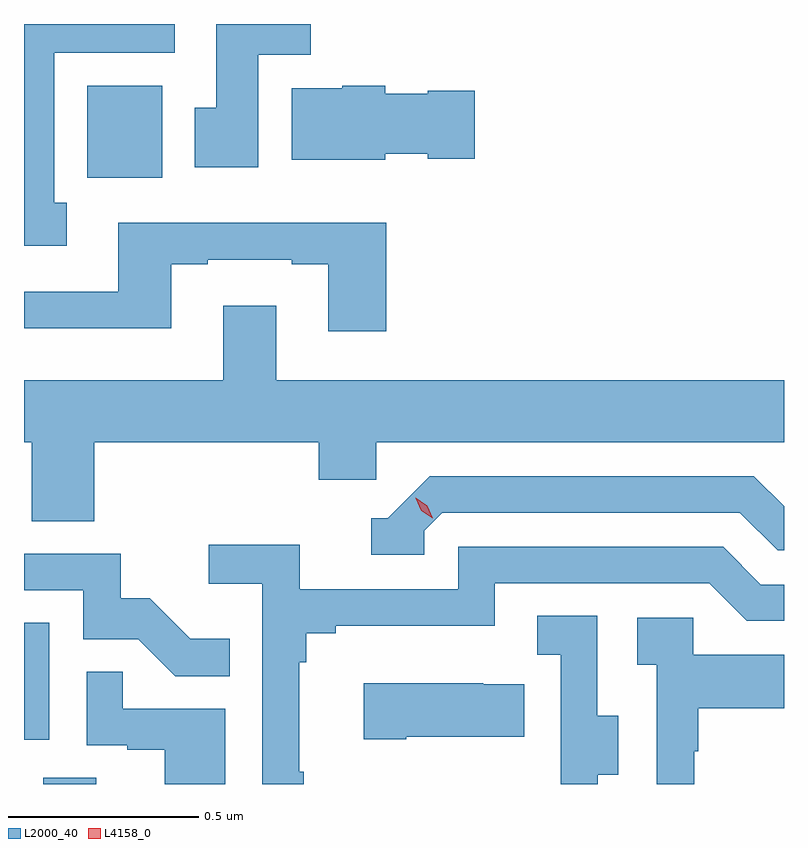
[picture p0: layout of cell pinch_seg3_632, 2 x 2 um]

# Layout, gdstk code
import gdstk
lib = gdstk.Library(unit=1e-6, precision=1e-09)
def R(c, l, rs):  # rectangles x0, y0, x1, y1
    for r in rs: c.add(gdstk.rectangle(r[:2], r[2:], *l))
def P(c, l, *ps):  # polygons
    for p in ps: c.add(gdstk.Polygon(p, *l))
L2000_40 = (2000, 40)
L4158_0 = (4158, 0)

pinch_seg3_632 = lib.new_cell('pinch_seg3_632')
R(pinch_seg3_632, L2000_40, [(1053.911,668.049,1054.051,668.066), (1053.861,668.166,1053.928,668.473), (1054.028,669.644,1054.225,669.886)])
P(pinch_seg3_632, L2000_40, [(1053.973,669.578),(1053.94,669.578),(1053.94,669.974),(1054.258,669.974),(1054.258,670.049),(1053.861,670.049),(1053.861,669.465),(1053.973,669.465)],
  [(1054.477,669.968),(1054.616,669.968),(1054.616,670.049),(1054.367,670.049),(1054.367,669.828),(1054.31,669.828),(1054.31,669.672),(1054.477,669.672)],
  [(1054.812,669.707),(1054.923,669.707),(1054.923,669.695),(1055.047,669.695),(1055.047,669.873),(1054.923,669.873),(1054.923,669.865),(1054.812,669.865),(1054.812,669.886),(1054.698,669.886),(1054.698,669.88),(1054.565,669.88),(1054.565,669.692),(1054.812,669.692)],
  [(1054.814,669.526),(1054.109,669.526),(1054.109,669.345),(1053.861,669.345),(1053.861,669.248),(1054.249,669.248),(1054.249,669.417),(1054.345,669.417),(1054.345,669.429),(1054.565,669.429),(1054.565,669.417),(1054.661,669.417),(1054.661,669.24),(1054.814,669.24)],
  [(1054.046,668.948),(1054.637,668.948),(1054.637,668.85),(1054.788,668.85),(1054.788,668.948),(1055.861,668.948),(1055.861,669.112),(1054.525,669.112),(1054.525,669.307),(1054.385,669.307),(1054.385,669.112),(1053.861,669.112),(1053.861,668.948),(1053.881,668.948),(1053.881,668.74),(1054.046,668.74)],
  [(1054.914,668.715),(1054.962,668.763),(1055.745,668.763),(1055.844,668.664),(1055.861,668.664),(1055.861,668.78),(1055.782,668.859),(1054.929,668.859),(1054.818,668.748),(1054.775,668.748),(1054.775,668.652),(1054.914,668.652)],
  [(1054.597,668.081),(1054.585,668.081),(1054.585,668.369),(1054.604,668.369),(1054.604,668.446),(1054.681,668.446),(1054.681,668.465),(1055.1,668.465),(1055.1,668.577),(1055.664,668.577),(1055.763,668.478),(1055.861,668.478),(1055.861,668.574),(1055.8,668.574),(1055.701,668.673),(1055.004,668.673),(1055.004,668.562),(1054.586,668.562),(1054.586,668.678),(1054.347,668.678),(1054.347,668.576),(1054.488,668.576),(1054.488,668.049),(1054.597,668.049)],
  [(1054.403,668.431),(1054.299,668.431),(1054.192,668.538),(1054.116,668.538),(1054.116,668.655),(1053.861,668.655),(1053.861,668.559),(1054.017,668.559),(1054.017,668.43),(1054.161,668.43),(1054.259,668.332),(1054.403,668.332)],
  [(1055.371,668.074),(1055.425,668.074),(1055.425,668.229),(1055.37,668.229),(1055.37,668.492),(1055.211,668.492),(1055.211,668.389),(1055.274,668.389),(1055.274,668.085),(1055.273,668.085),(1055.273,668.049),(1055.371,668.049)],
  [(1055.625,668.135),(1055.635,668.135),(1055.635,668.249),(1055.861,668.249),(1055.861,668.389),(1055.622,668.389),(1055.622,668.487),(1055.475,668.487),(1055.475,668.363),(1055.526,668.363),(1055.526,668.049),(1055.625,668.049)],
  [(1054.39,668.247),(1054.121,668.247),(1054.121,668.345),(1054.026,668.345),(1054.026,668.151),(1054.133,668.151),(1054.133,668.139),(1054.232,668.139),(1054.232,668.049),(1054.39,668.049)],
  [(1054.867,668.174),(1055.177,668.174),(1055.177,668.311),(1055.069,668.311),(1055.069,668.314),(1054.755,668.314),(1054.755,668.167),(1054.867,668.167)])
P(pinch_seg3_632, L4158_0, [(1054.937,668.748),(1054.907,668.768),(1054.892,668.801),(1054.892,668.802),(1054.892,668.802),(1054.922,668.781),(1054.937,668.748),(1054.937,668.748)])

lib.write_gds('pinch_seg3_632.gds')
